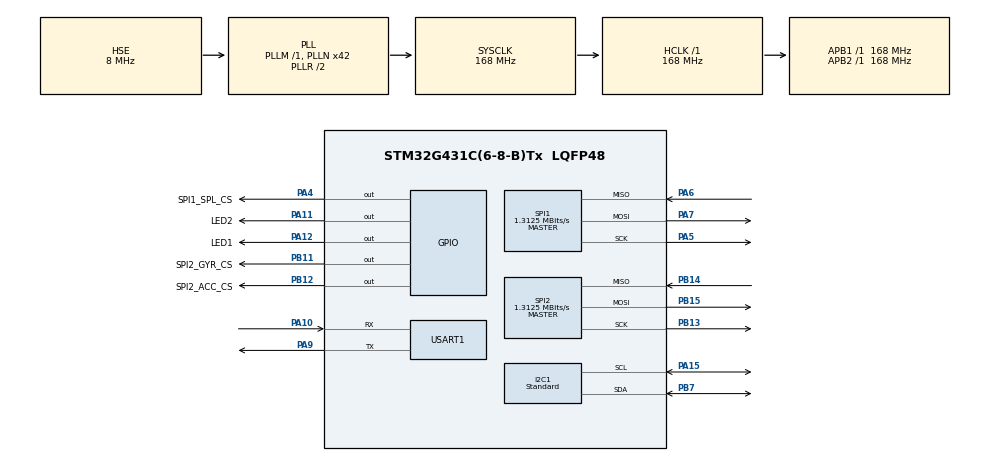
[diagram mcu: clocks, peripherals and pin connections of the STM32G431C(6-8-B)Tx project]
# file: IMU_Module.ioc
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I2C1.I2C_Speed_Mode=I2C_Standard
I2C1.Timing=0x60505F8C
Mcu.Family=STM32G4
Mcu.Name=STM32G431C(6-8-B)Tx
Mcu.Package=LQFP48
NVIC.PriorityGroup=NVIC_PRIORITYGROUP_4
NVIC.TIM2_IRQn=true\:2\:0\:true\:false\:true\:true\:true\:true
PA10.Mode=Asynchronous
PA10.Signal=USART1_RX
PA11.GPIO_Label=LED2
PA11.GPIO_PuPd=GPIO_PULLDOWN
PA11.GPIO_Speed=GPIO_SPEED_FREQ_HIGH
PA11.Signal=GPIO_Output
PA12.GPIO_Label=LED1
PA12.GPIO_PuPd=GPIO_PULLDOWN
PA12.GPIO_Speed=GPIO_SPEED_FREQ_HIGH
PA12.Signal=GPIO_Output
PA13.Mode=Serial_Wire
PA13.Signal=SYS_JTMS-SWDIO
PA14.Mode=Serial_Wire
PA14.Signal=SYS_JTCK-SWCLK
PA15.Mode=I2C
PA15.Signal=I2C1_SCL
PA4.GPIO_Label=SPI1_SPL_CS
PA4.GPIO_PuPd=GPIO_PULLUP
PA4.GPIO_Speed=GPIO_SPEED_FREQ_HIGH
PA4.PinState=GPIO_PIN_SET
PA4.Signal=GPIO_Output
PA5.Mode=Full_Duplex_Master
PA5.Signal=SPI1_SCK
PA6.Mode=Full_Duplex_Master
PA6.Signal=SPI1_MISO
PA7.Mode=Full_Duplex_Master
PA7.Signal=SPI1_MOSI
PA9.Mode=Asynchronous
PA9.Signal=USART1_TX
PB11.GPIO_Label=SPI2_GYR_CS
PB11.GPIO_PuPd=GPIO_PULLUP
PB11.GPIO_Speed=GPIO_SPEED_FREQ_HIGH
PB11.PinState=GPIO_PIN_SET
PB11.Signal=GPIO_Output
PB12.GPIO_Label=SPI2_ACC_CS
PB12.GPIO_PuPd=GPIO_PULLUP
PB12.GPIO_Speed=GPIO_SPEED_FREQ_HIGH
PB12.PinState=GPIO_PIN_SET
PB12.Signal=GPIO_Output
PB13.GPIO_PuPd=GPIO_NOPULL
PB13.Mode=Full_Duplex_Master
PB13.Signal=SPI2_SCK
PB14.GPIO_PuPd=GPIO_NOPULL
PB14.Mode=Full_Duplex_Master
PB14.Signal=SPI2_MISO
PB15.GPIO_PuPd=GPIO_NOPULL
PB15.Mode=Full_Duplex_Master
PB15.Signal=SPI2_MOSI
PB7.Mode=I2C
PB7.Signal=I2C1_SDA
PF0-OSC_IN.Mode=HSE-External-Oscillator
PF0-OSC_IN.Signal=RCC_OSC_IN
PF1-OSC_OUT.Mode=HSE-External-Oscillator
PF1-OSC_OUT.Signal=RCC_OSC_OUT
ProjectManager.HeapSize=0x200
ProjectManager.StackSize=0x400
ProjectManager.TargetToolchain=MDK-ARM V5.32
RCC.ADC12Freq_Value=168000000
RCC.AHBFreq_Value=168000000
RCC.APB1Freq_Value=168000000
RCC.APB1TimFreq_Value=168000000
RCC.APB2Freq_Value=168000000
RCC.APB2TimFreq_Value=168000000
RCC.CortexFreq_Value=168000000
RCC.EXTERNAL_CLOCK_VALUE=12288000
RCC.HCLKFreq_Value=168000000
RCC.HSE_VALUE=8000000
RCC.HSI48_VALUE=48000000
RCC.HSI_VALUE=16000000
RCC.LSE_VALUE=32768
RCC.PLLN=42
RCC.PLLSourceVirtual=RCC_PLLSOURCE_HSE
RCC.SYSCLKFreq_VALUE=168000000
RCC.SYSCLKSource=RCC_SYSCLKSOURCE_PLLCLK
RCC.USBFreq_Value=168000000
RCC.VCOOutputFreq_Value=336000000
SPI1.BaudRatePrescaler=SPI_BAUDRATEPRESCALER_128
SPI1.CLKPhase=SPI_PHASE_2EDGE
SPI1.CLKPolarity=SPI_POLARITY_HIGH
SPI1.CalculateBaudRate=1.3125 MBits/s
SPI1.DataSize=SPI_DATASIZE_8BIT
SPI1.Direction=SPI_DIRECTION_2LINES
SPI1.Mode=SPI_MODE_MASTER
SPI1.VirtualType=VM_MASTER
SPI2.BaudRatePrescaler=SPI_BAUDRATEPRESCALER_128
SPI2.CLKPhase=SPI_PHASE_2EDGE
SPI2.CLKPolarity=SPI_POLARITY_HIGH
SPI2.CalculateBaudRate=1.3125 MBits/s
SPI2.DataSize=SPI_DATASIZE_8BIT
SPI2.Direction=SPI_DIRECTION_2LINES
SPI2.FirstBit=SPI_FIRSTBIT_MSB
SPI2.Mode=SPI_MODE_MASTER
SPI2.VirtualType=VM_MASTER
TIM16.PeriodNoDither=167
TIM2.AutoReloadPreload=TIM_AUTORELOAD_PRELOAD_ENABLE
TIM2.Dithering=Disable
TIM2.PeriodNoDither=210
TIM2.Prescaler=0
TIM2.TIM_MasterOutputTrigger=TIM_TRGO_UPDATE
USART1.VirtualMode-Asynchronous=VM_ASYNC
VP_SYS_VS_DBSignals.Mode=DisableDeadBatterySignals
VP_TIM16_VS_ClockSourceINT.Mode=Enable_Timer
VP_TIM2_VS_ClockSourceINT.Mode=Internal
board=custom

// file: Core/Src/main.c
/* USER CODE BEGIN Header */
/**
 ******************************************************************************
 * @file           : main.c
 * @brief          : Main program body
 ******************************************************************************
 * @attention
 *
 * Copyright (c) 2023 STMicroelectronics.
 * All rights reserved.
 *
 * This software is licensed under terms that can be found in the LICENSE file
 * in the root directory of this software component.
 * If no LICENSE file comes with this software, it is provided AS-IS.
 *
 ******************************************************************************
 */
/* USER CODE END Header */
#include "main.h"
#include "i2c.h"
#include "spi.h"
#include "tim.h"
#include "usart.h"
#include "gpio.h"

/* USER CODE BEGIN Includes */
#include "bmi088.h"
#include "ws2812.h"
#include "mDelay.h"
#include "qmc5883.h"
#include "debug.h"
#include "spl06.h"
#include "imu.h"
/* USER CODE END Includes */

/* USER CODE BEGIN PTD */
extern SPL06_DEV spl06;
/* USER CODE END PTD */

void SystemClock_Config(void);

/* USER CODE BEGIN 0 */
extern QMC5883L_DEV QMC5883LSample;
/* USER CODE END 0 */

int main(void)
{
  /* USER CODE BEGIN 1 */
  bmi088_error_e err;
  uint8_t i = 0;
  float temp;
  /* USER CODE END 1 */

  /* MCU Configuration--------------------------------------------------------*/

  /* Reset of all peripherals, Initializes the Flash interface and the Systick. */
  HAL_Init();

  /* Configure the system clock */
  SystemClock_Config();

  /* Initialize all configured peripherals */
  MX_GPIO_Init();
  MX_USART1_UART_Init();
  MX_SPI2_Init();
  MX_TIM2_Init();
  MX_TIM16_Init();
  MX_I2C1_Init();
  MX_SPI1_Init();
  /* USER CODE BEGIN 2 */
  HAL_Delay(100);
  // 气压计初始化
  SPL06_Init(&spl06);
  // BMI088初始化
  err = BMI088_INIT();
  QMC5883err = QMC5883L_Init();
  if (QMC5883err != QMC5883L_DATA_SUCCESS)
  {
    while (1)
    {
      // LL_mDelay(500);
      delay_us(1000 * 100);
      HAL_GPIO_TogglePin(LED2_GPIO_Port, LED2_Pin);
    }
  }
  MahonyAHRS(0.01f, 0.2f, 0.001f);

  /* USER CODE END 2 */

  /* Infinite loop */
  while (1)
  {

    /* USER CODE BEGIN 3 */

    HAL_Delay(10);
    IMU_get_origion_data(&dev);
    SPL_06_Get_Height(&spl06);
    QMC5883L_Read_TEMP(&temp);
    QMC5883L_Read_XYZ(&QMC5883LSample);
    // ReadSingleDataFromAcc(ACC_PWR_CTRL_ADDR, &i);
    Update(dev.gyro_x, dev.gyro_y, dev.gyro_z, dev.aac_x, dev.aac_y, dev.aac_z, QMC5883LSample.X_Data, QMC5883LSample.Y_Data, QMC5883LSample.Z_Data, &dev);
    printf("sample:%.2f,%.2f,%.2f\n", dev.pitch, dev.roll, dev.yaw);
    HAL_GPIO_TogglePin(LED2_GPIO_Port, LED2_Pin);
    HAL_GPIO_TogglePin(LED1_GPIO_Port, LED1_Pin);
  }
  /* USER CODE END 3 */
}

void SystemClock_Config(void)
{
  RCC_OscInitTypeDef RCC_OscInitStruct = {0};
  RCC_ClkInitTypeDef RCC_ClkInitStruct = {0};

  /** Configure the main internal regulator output voltage
   */
  HAL_PWREx_ControlVoltageScaling(PWR_REGULATOR_VOLTAGE_SCALE1_BOOST);

  /** Initializes the RCC Oscillators according to the specified parameters
   * in the RCC_OscInitTypeDef structure.
   */
  RCC_OscInitStruct.OscillatorType = RCC_OSCILLATORTYPE_HSE;
  RCC_OscInitStruct.HSEState = RCC_HSE_ON;
  RCC_OscInitStruct.PLL.PLLState = RCC_PLL_ON;
  RCC_OscInitStruct.PLL.PLLSource = RCC_PLLSOURCE_HSE;
  RCC_OscInitStruct.PLL.PLLM = RCC_PLLM_DIV1;
  RCC_OscInitStruct.PLL.PLLN = 42;
  RCC_OscInitStruct.PLL.PLLP = RCC_PLLP_DIV2;
  RCC_OscInitStruct.PLL.PLLQ = RCC_PLLQ_DIV2;
  RCC_OscInitStruct.PLL.PLLR = RCC_PLLR_DIV2;
  if (HAL_RCC_OscConfig(&RCC_OscInitStruct) != HAL_OK)
  {
    Error_Handler();
  }

  /** Initializes the CPU, AHB and APB buses clocks
   */
  RCC_ClkInitStruct.ClockType = RCC_CLOCKTYPE_HCLK | RCC_CLOCKTYPE_SYSCLK | RCC_CLOCKTYPE_PCLK1 | RCC_CLOCKTYPE_PCLK2;
  RCC_ClkInitStruct.SYSCLKSource = RCC_SYSCLKSOURCE_PLLCLK;
  RCC_ClkInitStruct.AHBCLKDivider = RCC_SYSCLK_DIV1;
  RCC_ClkInitStruct.APB1CLKDivider = RCC_HCLK_DIV1;
  RCC_ClkInitStruct.APB2CLKDivider = RCC_HCLK_DIV1;

  if (HAL_RCC_ClockConfig(&RCC_ClkInitStruct, FLASH_LATENCY_4) != HAL_OK)
  {
    Error_Handler();
  }
}

void Error_Handler(void)
{
  __disable_irq();
  while (1)
  {
  }
}
